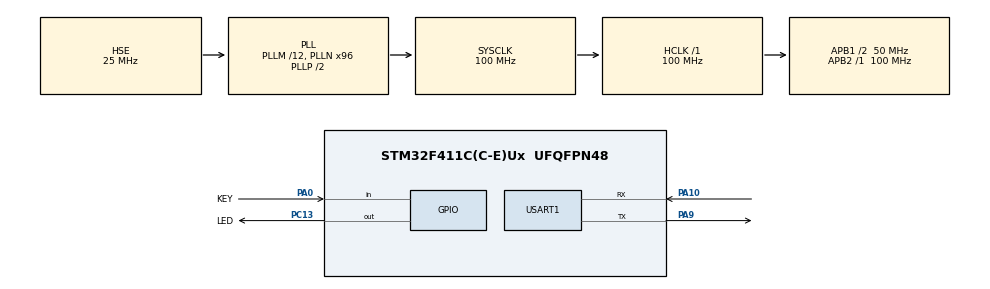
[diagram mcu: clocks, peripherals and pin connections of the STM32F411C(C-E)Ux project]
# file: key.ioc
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FREERTOS.Tasks01=defaultTask,24,128,StartDefaultTask,Default,NULL,Dynamic,NULL,NULL
Mcu.Family=STM32F4
Mcu.Name=STM32F411C(C-E)Ux
Mcu.Package=UFQFPN48
NVIC.PriorityGroup=NVIC_PRIORITYGROUP_4
NVIC.TIM1_UP_TIM10_IRQn=true\:15\:0\:false\:false\:true\:false\:false\:true\:true
NVIC.TimeBase=TIM1_UP_TIM10_IRQn
NVIC.TimeBaseIP=TIM1
PA0-WKUP.GPIO_Label=KEY
PA0-WKUP.GPIO_PuPd=GPIO_PULLUP
PA0-WKUP.Signal=GPIO_Input
PA10.Mode=Asynchronous
PA10.Signal=USART1_RX
PA9.Mode=Asynchronous
PA9.Signal=USART1_TX
PC13-ANTI_TAMP.GPIO_Label=LED
PC13-ANTI_TAMP.GPIO_PuPd=GPIO_PULLUP
PC13-ANTI_TAMP.Signal=GPIO_Output
PC14-OSC32_IN.Mode=LSE-External-Oscillator
PC14-OSC32_IN.Signal=RCC_OSC32_IN
PC15-OSC32_OUT.Mode=LSE-External-Oscillator
PC15-OSC32_OUT.Signal=RCC_OSC32_OUT
PH0\ -\ OSC_IN.Mode=HSE-External-Oscillator
PH0\ -\ OSC_IN.Signal=RCC_OSC_IN
PH1\ -\ OSC_OUT.Mode=HSE-External-Oscillator
PH1\ -\ OSC_OUT.Signal=RCC_OSC_OUT
ProjectManager.HeapSize=0x200
ProjectManager.StackSize=0x400
ProjectManager.TargetToolchain=MDK-ARM V5.32
RCC.48MHZClocksFreq_Value=50000000
RCC.AHBFreq_Value=100000000
RCC.APB1CLKDivider=RCC_HCLK_DIV2
RCC.APB1Freq_Value=50000000
RCC.APB1TimFreq_Value=100000000
RCC.APB2Freq_Value=100000000
RCC.APB2TimFreq_Value=100000000
RCC.CortexFreq_Value=100000000
RCC.HCLKFreq_Value=100000000
RCC.HSE_VALUE=25000000
RCC.HSI_VALUE=16000000
RCC.PLLM=12
RCC.PLLN=96
RCC.PLLSourceVirtual=RCC_PLLSOURCE_HSE
RCC.SYSCLKFreq_VALUE=100000000
RCC.SYSCLKSource=RCC_SYSCLKSOURCE_PLLCLK
RCC.VCOOutputFreq_Value=200000000
USART1.VirtualMode=VM_ASYNC
VP_FREERTOS_VS_CMSIS_V2.Mode=CMSIS_V2
VP_SYS_VS_tim1.Mode=TIM1
board=custom

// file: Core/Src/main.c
/* USER CODE BEGIN Header */
/**
  ******************************************************************************
  * @file           : main.c
  * @brief          : Main program body
  ******************************************************************************
  * @attention
  *
  * Copyright (c) 2026 STMicroelectronics.
  * All rights reserved.
  *
  * This software is licensed under terms that can be found in the LICENSE file
  * in the root directory of this software component.
  * If no LICENSE file comes with this software, it is provided AS-IS.
  *
  ******************************************************************************
  */
/* USER CODE END Header */
#include "main.h"
#include "cmsis_os.h"
#include "usart.h"
#include "gpio.h"

/* USER CODE BEGIN Includes */
#include <stdio.h>
/* USER CODE END Includes */

void SystemClock_Config(void);
void MX_FREERTOS_Init(void);

int main(void)
{

  /* MCU Configuration--------------------------------------------------------*/

  /* Reset of all peripherals, Initializes the Flash interface and the Systick. */
  HAL_Init();

  /* Configure the system clock */
  SystemClock_Config();

  /* Initialize all configured peripherals */
  MX_GPIO_Init();
  MX_USART1_UART_Init();

  /* Init scheduler */
  osKernelInitialize();  /* Call init function for freertos objects (in cmsis_os2.c) */
  MX_FREERTOS_Init();

  /* Start scheduler */
  osKernelStart();

  /* We should never get here as control is now taken by the scheduler */

  /* Infinite loop */
  while (1)
  {

  }
}

void SystemClock_Config(void)
{
  RCC_OscInitTypeDef RCC_OscInitStruct = {0};
  RCC_ClkInitTypeDef RCC_ClkInitStruct = {0};

  /** Configure the main internal regulator output voltage
  */
  __HAL_RCC_PWR_CLK_ENABLE();
  __HAL_PWR_VOLTAGESCALING_CONFIG(PWR_REGULATOR_VOLTAGE_SCALE1);

  /** Initializes the RCC Oscillators according to the specified parameters
  * in the RCC_OscInitTypeDef structure.
  */
  RCC_OscInitStruct.OscillatorType = RCC_OSCILLATORTYPE_HSE;
  RCC_OscInitStruct.HSEState = RCC_HSE_ON;
  RCC_OscInitStruct.PLL.PLLState = RCC_PLL_ON;
  RCC_OscInitStruct.PLL.PLLSource = RCC_PLLSOURCE_HSE;
  RCC_OscInitStruct.PLL.PLLM = 12;
  RCC_OscInitStruct.PLL.PLLN = 96;
  RCC_OscInitStruct.PLL.PLLP = RCC_PLLP_DIV2;
  RCC_OscInitStruct.PLL.PLLQ = 4;
  if (HAL_RCC_OscConfig(&RCC_OscInitStruct) != HAL_OK)
  {
    Error_Handler();
  }

  /** Initializes the CPU, AHB and APB buses clocks
  */
  RCC_ClkInitStruct.ClockType = RCC_CLOCKTYPE_HCLK|RCC_CLOCKTYPE_SYSCLK
                              |RCC_CLOCKTYPE_PCLK1|RCC_CLOCKTYPE_PCLK2;
  RCC_ClkInitStruct.SYSCLKSource = RCC_SYSCLKSOURCE_PLLCLK;
  RCC_ClkInitStruct.AHBCLKDivider = RCC_SYSCLK_DIV1;
  RCC_ClkInitStruct.APB1CLKDivider = RCC_HCLK_DIV2;
  RCC_ClkInitStruct.APB2CLKDivider = RCC_HCLK_DIV1;

  if (HAL_RCC_ClockConfig(&RCC_ClkInitStruct, FLASH_LATENCY_3) != HAL_OK)
  {
    Error_Handler();
  }
}

/* USER CODE BEGIN 4 */

//-------------------------------------------------------------
// 串口重定向代码
#ifdef __GNUC__
    #define PUTCHAR_PROTOTYPE int _io_putchar(int ch)
#else
    #define PUTCHAR_PROTOTYPE int fputc(int ch, FILE *f)
#endif /* __GNUC__ */

PUTCHAR_PROTOTYPE
{
    HAL_UART_Transmit(&huart1, (uint8_t *)&ch, 1, 0xFFFF);
    return ch;
}
//-------------------------------------------------------------

/* USER CODE END 4 */

void HAL_TIM_PeriodElapsedCallback(TIM_HandleTypeDef *htim)
{
  if (htim->Instance == TIM1)
  {
    HAL_IncTick();
  }
}

void Error_Handler(void)
{
  __disable_irq();
  while (1)
  {
  }
}

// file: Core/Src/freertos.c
/* USER CODE BEGIN Header */
/**
  ******************************************************************************
  * File Name          : freertos.c
  * Description        : Code for freertos applications
  ******************************************************************************
  * @attention
  *
  * Copyright (c) 2026 STMicroelectronics.
  * All rights reserved.
  *
  * This software is licensed under terms that can be found in the LICENSE file
  * in the root directory of this software component.
  * If no LICENSE file comes with this software, it is provided AS-IS.
  *
  ******************************************************************************
  */
/* USER CODE END Header */

#include "FreeRTOS.h"
#include "task.h"
#include "main.h"
#include "cmsis_os.h"

/* USER CODE BEGIN Includes */
#include <stdio.h>
#include "bsp_key.h"
#include "queue.h"
#include "bsp_led.h"
/* USER CODE END Includes */

/* Definitions for defaultTask */
osThreadId_t defaultTaskHandle;
const osThreadAttr_t defaultTask_attributes = {
  .name = "defaultTask",
  .stack_size = 128 * 4,
  .priority = (osPriority_t) osPriorityNormal,
};

/* USER CODE BEGIN FunctionPrototypes */

//********************** 任务相关 **********************//

osThreadId_t keyTaskHandle;
const osThreadAttr_t key_attributes = {
  .name = "keyTask",
  .stack_size = 128 * 4,
  .priority = (osPriority_t) osPriorityNormal,
};

void key_task(void *argument);

osThreadId_t ledTaskHandle;

const osThreadAttr_t led_attributes = {
    .name = "ledTask",
    .stack_size = 128 * 4,
    .priority = (osPriority_t)osPriorityNormal,
};

void led_task(void *argument);

//********************** 任务相关 **********************//

//********************** 队列相关 **********************//

QueueHandle_t key_queue;
QueueHandle_t led_queue;

//********************** 队列相关 **********************//

/* USER CODE END FunctionPrototypes */

void StartDefaultTask(void *argument);

void MX_FREERTOS_Init(void); /* (MISRA C 2004 rule 8.1) */

void MX_FREERTOS_Init(void) {

  /* USER CODE BEGIN RTOS_QUEUES */
  /* add queues, ... */

	key_queue = xQueueCreate(10, sizeof(uint32_t));
	led_queue = xQueueCreate(10, sizeof(led_operation_t));

	if ((key_queue == NULL) || (led_queue == NULL))
	{
		Error_Handler();
	}

  /* USER CODE END RTOS_QUEUES */

  /* Create the thread(s) */
  /* creation of defaultTask */
  defaultTaskHandle = osThreadNew(StartDefaultTask, NULL, &defaultTask_attributes);

  /* USER CODE BEGIN RTOS_THREADS */
  /* add threads, ... */
  keyTaskHandle = osThreadNew(key_task, NULL, &key_attributes);
  ledTaskHandle = osThreadNew(led_task, NULL, &led_attributes);
  /* USER CODE END RTOS_THREADS */

}

void StartDefaultTask(void *argument)
{
  /* USER CODE BEGIN StartDefaultTask */
  uint32_t r_data;
  led_operation_t operation = LED_TOGGLE;
  /* Infinite loop */
  for(;;)
  {
		if (uxQueueMessagesWaiting(key_queue) > 0) // 需要用判断是否有数据来判断队列
		{
			if (pdPASS == xQueueReceive(key_queue, &r_data, 100))
			{
				printf("r_data = [%d]\r\n", r_data);
				xQueueSend(led_queue, &operation, portMAX_DELAY);
			}
		}

		printf("StartDefaultTask...\r\n");
		osDelay(100);
  }
  /* USER CODE END StartDefaultTask */
}

/* USER CODE BEGIN Application */

// key任务
void key_task(void *argument)
{
    key_press_state_t key_state = KEY_NOT_PRESS;	// 按键状态
	// key_queue = xQueueCreate(10, sizeof(uint32_t));	// 按键发送队列
	// if (NULL == key_queue)
	// {
	// 	printf("create key_queue file\r\n");
	// }
	uint32_t count_tick = 0;

    for(;;)
    {
		count_tick++;
		key_state = key_scan();

        if (KEY_PRESS == key_state)        			 // 按键被按下
        {
            printf("KEY_PRESS\r\n");
			if (pdPASS == xQueueSend(key_queue, &count_tick, 0))
			{
				printf("send key_queue succeed\r\n");
			}
        }
        else if (KEY_NOT_PRESS == key_state) 		// 按键未被按下
        {
            printf("KEY_NOT_PRESS\r\n");
        }

        printf("key_task...\r\n");
        osDelay(1000);
    }

}

// led任务
void led_task(void *argument)
{
    led_operation_t operation = LED_OFF;

	for (;;)
	{
		if (xQueueReceive(led_queue, &operation, portMAX_DELAY) == pdPASS)
		{
			led_control(operation);
		}
		osDelay(10);
	}
}

/* USER CODE END Application */
